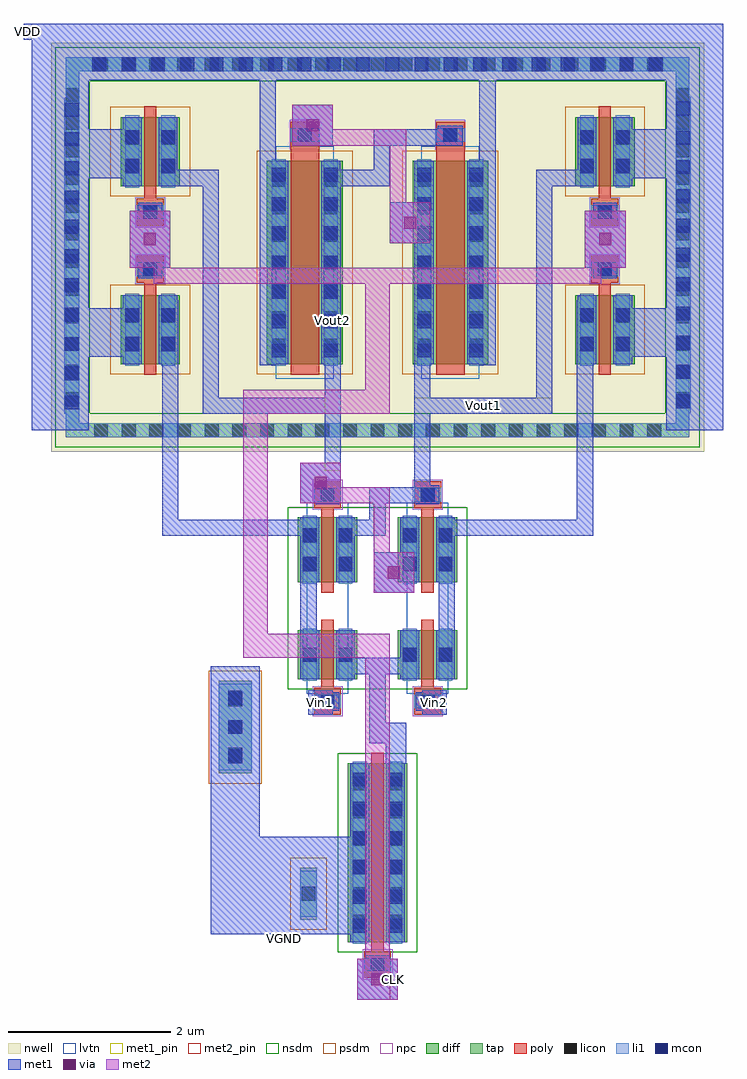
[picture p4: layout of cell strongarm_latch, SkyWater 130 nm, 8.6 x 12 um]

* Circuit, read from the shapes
.subckt strongarm_latch CLK VDD VGND Vin1 Vin2 Vout1 Vout2
XM1 n1 Vin1 n2 VGND sky130_fd_pr__nfet_01v8_lvt w=0.6 l=0.15
XM2 Vout1 Vout2 n2 VGND sky130_fd_pr__nfet_01v8_lvt w=0.8 l=0.15
XM3 n1 CLK VGND VGND sky130_fd_pr__nfet_01v8 w=2.2 l=0.15
XM4 n3 Vin2 n1 VGND sky130_fd_pr__nfet_01v8_lvt w=0.6 l=0.15
XM5 n3 Vout1 Vout2 VGND sky130_fd_pr__nfet_01v8_lvt w=0.8 l=0.15
XM6 n2 CLK VDD VDD sky130_fd_pr__pfet_01v8 w=0.85 l=0.15
XM7 Vout2 CLK VDD VDD sky130_fd_pr__pfet_01v8 w=0.85 l=0.15
XM8 Vout2 Vout1 VDD VDD sky130_fd_pr__pfet_01v8_lvt w=2.5 l=0.35
XM9 VDD Vout2 Vout1 VDD sky130_fd_pr__pfet_01v8_lvt w=2.5 l=0.35
XM10 VDD CLK n3 VDD sky130_fd_pr__pfet_01v8 w=0.85 l=0.15
XM11 VDD CLK Vout1 VDD sky130_fd_pr__pfet_01v8 w=0.85 l=0.15
.ends

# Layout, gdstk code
from math import pi, radians
import gdstk
lib = gdstk.Library(unit=1e-6, precision=1e-09)
def R(c, l, rs):  # rectangles x0, y0, x1, y1
    for r in rs: c.add(gdstk.rectangle(r[:2], r[2:], *l))
def A(c, l, x, y, w, h, nx, ny, dx, dy):  # array of equal rectangles
    R(c, l, [(x+i*dx, y+j*dy, x+i*dx+w, y+j*dy+h) for i in range(nx) for j in range(ny)])
nwell = (64, 20)
diff = (65, 20)
tap = (65, 44)
poly = (66, 20)
licon = (66, 44)
li1 = (67, 20)
mcon = (67, 44)
met1_pin = (68, 16)
met1 = (68, 20)
via = (68, 44)
met2_pin = (69, 16)
met2 = (69, 20)
nsdm = (93, 44)
psdm = (94, 20)
npc = (95, 20)
lvtn = (125, 44)

sky130_fd_pr__nfet_01v8_ = lib.new_cell('sky130_fd_pr__nfet_01v8_lvt_TKNPCU')
R(sky130_fd_pr__nfet_01v8_, diff, [(-0.365,-0.145,0.365,0.455)])
R(sky130_fd_pr__nfet_01v8_, poly, [(-0.165,-0.585,0.165,-0.255), (-0.075,-0.255,0.075,0.585)])
R(sky130_fd_pr__nfet_01v8_, licon, [(-0.085,-0.505,0.085,-0.335), (-0.305,0.07,-0.135,0.24), (0.135,0.07,0.305,0.24)])
R(sky130_fd_pr__nfet_01v8_, li1, [(-0.165,-0.505,0.165,-0.335), (-0.305,-0.165,-0.135,0.475), (0.135,-0.165,0.305,0.475)])
R(sky130_fd_pr__nfet_01v8_, mcon, [(-0.085,-0.505,0.085,-0.335), (-0.305,0.07,-0.135,0.24), (0.135,0.07,0.305,0.24)])
R(sky130_fd_pr__nfet_01v8_, met1, [(-0.145,-0.535,0.145,-0.305), (-0.335,-0.145,-0.105,0.455), (0.105,-0.145,0.335,0.455)])
R(sky130_fd_pr__nfet_01v8_, nsdm, [(-0.49,-0.27,0.49,0.58)])
R(sky130_fd_pr__nfet_01v8_, npc, [(-0.185,-0.605,0.185,-0.235)])
R(sky130_fd_pr__nfet_01v8_, lvtn, [(-0.255,-0.325,0.255,0.635)])

c_sky130_fd_pr__nfet_01v8_ = lib.new_cell('sky130_fd_pr__nfet_01v8_J3FHM4')
R(c_sky130_fd_pr__nfet_01v8_, diff, [(-0.365,-0.945,0.365,1.255)])
R(c_sky130_fd_pr__nfet_01v8_, poly, [(-0.165,-1.385,0.165,-1.055), (-0.075,-1.055,0.075,1.385)])
A(c_sky130_fd_pr__nfet_01v8_, licon, -0.305, -0.78, 0.17, 0.17, 1, 6, 0, 0.34)
A(c_sky130_fd_pr__nfet_01v8_, licon, 0.135, -0.78, 0.17, 0.17, 1, 6, 0, 0.34)
R(c_sky130_fd_pr__nfet_01v8_, licon, [(-0.085,-1.305,0.085,-1.135)])
R(c_sky130_fd_pr__nfet_01v8_, li1, [(-0.165,-1.305,0.165,-1.135), (-0.305,-0.965,-0.135,1.275), (0.135,-0.965,0.305,1.275)])
A(c_sky130_fd_pr__nfet_01v8_, mcon, -0.305, -0.83, 0.17, 0.17, 1, 6, 0, 0.36)
A(c_sky130_fd_pr__nfet_01v8_, mcon, 0.135, -0.83, 0.17, 0.17, 1, 6, 0, 0.36)
R(c_sky130_fd_pr__nfet_01v8_, mcon, [(-0.085,-1.305,0.085,-1.135)])
R(c_sky130_fd_pr__nfet_01v8_, met1, [(-0.145,-1.335,0.145,-1.105), (-0.335,-0.945,-0.105,1.255), (0.105,-0.945,0.335,1.255)])
R(c_sky130_fd_pr__nfet_01v8_, nsdm, [(-0.49,-1.07,0.49,1.38)])
R(c_sky130_fd_pr__nfet_01v8_, npc, [(-0.185,-1.405,0.185,-1.035)])

c_sky130_fd_pr__nfet_01v8__ = lib.new_cell('sky130_fd_pr__nfet_01v8_lvt_QB5NRZ')
R(c_sky130_fd_pr__nfet_01v8__, diff, [(-0.365,-0.555,0.365,0.245)])
R(c_sky130_fd_pr__nfet_01v8__, poly, [(-0.075,-0.685,0.075,0.355), (-0.165,0.355,0.165,0.685)])
R(c_sky130_fd_pr__nfet_01v8__, licon, [(-0.305,-0.41,-0.135,-0.24), (0.135,-0.41,0.305,-0.24), (-0.305,-0.07,-0.135,0.1), (0.135,-0.07,0.305,0.1), (-0.085,0.435,0.085,0.605)])
R(c_sky130_fd_pr__nfet_01v8__, li1, [(-0.305,-0.575,-0.135,0.265), (0.135,-0.575,0.305,0.265), (-0.165,0.435,0.165,0.605)])
R(c_sky130_fd_pr__nfet_01v8__, mcon, [(-0.305,-0.42,-0.135,-0.25), (0.135,-0.42,0.305,-0.25), (-0.305,-0.06,-0.135,0.11), (0.135,-0.06,0.305,0.11), (-0.085,0.435,0.085,0.605)])
R(c_sky130_fd_pr__nfet_01v8__, met1, [(-0.335,-0.555,-0.105,0.245), (0.105,-0.555,0.335,0.245), (-0.145,0.405,0.145,0.635)])
R(c_sky130_fd_pr__nfet_01v8__, nsdm, [(-0.49,-0.68,0.49,0.37)])
R(c_sky130_fd_pr__nfet_01v8__, npc, [(-0.185,0.335,0.185,0.705)])
R(c_sky130_fd_pr__nfet_01v8__, lvtn, [(-0.255,-0.735,0.255,0.425)])

sky130_fd_pr__pfet_01v8_ = lib.new_cell('sky130_fd_pr__pfet_01v8_G6GMRB')
R(sky130_fd_pr__pfet_01v8_, nwell, [(-0.545,-0.745,0.545,0.915)])
R(sky130_fd_pr__pfet_01v8_, diff, [(-0.365,-0.245,0.365,0.605)])
R(sky130_fd_pr__pfet_01v8_, poly, [(-0.165,-0.73,0.165,-0.4), (-0.075,-0.4,0.075,0.735)])
R(sky130_fd_pr__pfet_01v8_, licon, [(-0.085,-0.65,0.085,-0.48), (-0.305,-0.075,-0.135,0.095), (0.135,-0.075,0.305,0.095), (-0.305,0.265,-0.135,0.435), (0.135,0.265,0.305,0.435)])
R(sky130_fd_pr__pfet_01v8_, li1, [(-0.165,-0.65,0.165,-0.48), (-0.305,-0.265,-0.135,0.625), (0.135,-0.265,0.305,0.625)])
R(sky130_fd_pr__pfet_01v8_, mcon, [(-0.085,-0.65,0.085,-0.48), (-0.305,-0.085,-0.135,0.085), (0.135,-0.085,0.305,0.085), (-0.305,0.275,-0.135,0.445), (0.135,0.275,0.305,0.445)])
R(sky130_fd_pr__pfet_01v8_, met1, [(-0.145,-0.68,0.145,-0.45), (-0.335,-0.245,-0.105,0.605), (0.105,-0.245,0.335,0.605)])
R(sky130_fd_pr__pfet_01v8_, psdm, [(-0.49,-0.37,0.49,0.73)])
R(sky130_fd_pr__pfet_01v8_, npc, [(-0.185,-0.75,0.185,-0.38)])

c_sky130_fd_pr__pfet_01v8_ = lib.new_cell('sky130_fd_pr__pfet_01v8_lvt_ZG7PXW')
R(c_sky130_fd_pr__pfet_01v8_, nwell, [(-0.645,-1.74,0.645,1.57)])
R(c_sky130_fd_pr__pfet_01v8_, diff, [(-0.465,-1.43,0.465,1.07)])
R(c_sky130_fd_pr__pfet_01v8_, poly, [(-0.175,-1.56,0.175,1.555)])
A(c_sky130_fd_pr__pfet_01v8_, licon, -0.405, -1.285, 0.17, 0.17, 1, 7, 0, 0.34)
A(c_sky130_fd_pr__pfet_01v8_, licon, 0.235, -1.285, 0.17, 0.17, 1, 7, 0, 0.34)
R(c_sky130_fd_pr__pfet_01v8_, licon, [(-0.085,1.305,0.085,1.475)])
R(c_sky130_fd_pr__pfet_01v8_, li1, [(-0.405,-1.45,-0.235,1.09), (0.235,-1.45,0.405,1.09), (-0.175,1.305,0.175,1.475)])
A(c_sky130_fd_pr__pfet_01v8_, mcon, -0.405, -1.345, 0.17, 0.17, 1, 7, 0, 0.36)
A(c_sky130_fd_pr__pfet_01v8_, mcon, 0.235, -1.345, 0.17, 0.17, 1, 7, 0, 0.36)
R(c_sky130_fd_pr__pfet_01v8_, mcon, [(-0.085,1.305,0.085,1.475)])
R(c_sky130_fd_pr__pfet_01v8_, met1, [(-0.435,-1.43,-0.205,1.07), (0.205,-1.43,0.435,1.07), (-0.155,1.275,0.155,1.505)])
R(c_sky130_fd_pr__pfet_01v8_, psdm, [(-0.59,-1.555,0.59,1.195)])
R(c_sky130_fd_pr__pfet_01v8_, npc, [(-0.185,1.205,0.185,1.575)])
R(c_sky130_fd_pr__pfet_01v8_, lvtn, [(-0.355,-1.61,0.355,1.25)])

c_sky130_fd_pr__pfet_01v8__ = lib.new_cell('sky130_fd_pr__pfet_01v8_TCZQYD')
R(c_sky130_fd_pr__pfet_01v8__, nwell, [(-0.545,-0.915,0.545,0.745)])
R(c_sky130_fd_pr__pfet_01v8__, diff, [(-0.365,-0.605,0.365,0.245)])
R(c_sky130_fd_pr__pfet_01v8__, poly, [(-0.075,-0.735,0.075,0.4), (-0.165,0.4,0.165,0.73)])
R(c_sky130_fd_pr__pfet_01v8__, licon, [(-0.305,-0.435,-0.135,-0.265), (0.135,-0.435,0.305,-0.265), (-0.305,-0.095,-0.135,0.075), (0.135,-0.095,0.305,0.075), (-0.085,0.48,0.085,0.65)])
R(c_sky130_fd_pr__pfet_01v8__, li1, [(-0.305,-0.625,-0.135,0.265), (0.135,-0.625,0.305,0.265), (-0.165,0.48,0.165,0.65)])
R(c_sky130_fd_pr__pfet_01v8__, mcon, [(-0.305,-0.445,-0.135,-0.275), (0.135,-0.445,0.305,-0.275), (-0.305,-0.085,-0.135,0.085), (0.135,-0.085,0.305,0.085), (-0.085,0.48,0.085,0.65)])
R(c_sky130_fd_pr__pfet_01v8__, met1, [(-0.335,-0.605,-0.105,0.245), (0.105,-0.605,0.335,0.245), (-0.145,0.45,0.145,0.68)])
R(c_sky130_fd_pr__pfet_01v8__, psdm, [(-0.49,-0.73,0.49,0.37)])
R(c_sky130_fd_pr__pfet_01v8__, npc, [(-0.185,0.38,0.185,0.75)])

strongarm_latch = lib.new_cell('strongarm_latch')
R(strongarm_latch, nwell, [(0.735,-16.765,8.765,-11.735)])
R(strongarm_latch, tap, [(3.8,-22.52,4,-21.88), (2.8,-20.72,3.2,-19.58), (0.915,-16.585,8.585,-16.415), (0.915,-16.415,1.085,-12.085), (8.415,-16.415,8.585,-12.085), (0.915,-12.085,8.585,-11.915)])
A(strongarm_latch, licon, 2.915, -20.575, 0.17, 0.17, 1, 3, 0, 0.34)
A(strongarm_latch, licon, 1.265, -16.585, 0.17, 0.17, 21, 2, 0.34, 4.5)
A(strongarm_latch, licon, 0.915, -16.205, 0.17, 0.17, 1, 12, 0, 0.34)
A(strongarm_latch, licon, 8.415, -16.205, 0.17, 0.17, 1, 12, 0, 0.34)
R(strongarm_latch, licon, [(3.815,-22.285,3.985,-22.115)])
R(strongarm_latch, li1, [(3.8,-22.48,4,-21.92), (2.8,-20.68,3.2,-19.62), (0.915,-16.585,8.585,-16.415), (0.915,-16.415,1.085,-16.3), (8.415,-16.415,8.585,-16.285), (0.9,-16.3,1.085,-12.415), (8.415,-16.285,8.6,-12.4), (0.915,-12.415,1.085,-12.085), (8.415,-12.4,8.585,-12.085), (0.915,-12.085,8.585,-11.915)])
A(strongarm_latch, mcon, 2.915, -20.595, 0.17, 0.17, 1, 3, 0, 0.36)
A(strongarm_latch, mcon, 0.905, -16.245, 0.17, 0.17, 1, 11, 0, 0.36)
A(strongarm_latch, mcon, 8.42, -16.23, 0.17, 0.17, 1, 11, 0, 0.36)
A(strongarm_latch, mcon, 1.245, -12.085, 0.17, 0.17, 20, 1, 0.36, 0)
R(strongarm_latch, met1_pin, [(3.5,-22.8,3.7,-22.7), (3.9,-20,4.2,-19.7), (5.3,-20,5.6,-19.7), (4.1,-17,4.3,-13.3), (5.2,-16.3,6.9,-16.1), (0.4,-11.7,0.5,-11.5)])
R(strongarm_latch, met1, [(4.5,-23.5,5,-23), (3.5,-22.8,3.7,-22.7), (2.7,-22.7,4.6,-21.5), (2.7,-21.5,3.3,-19.4), (4.85,-20.6,5.1,-20.35), (4.65,-20.35,5.1,-20.1), (4.65,-20.1,4.85,-19.5), (3.9,-20,4.2,-19.7), (5.3,-20,5.6,-19.7), (3.8,-19.5,4,-17.8), (4.3,-19.5,5.2,-19.3), (5.5,-19.2,5.7,-17.8), (4.7,-18.5,5.2,-18), (2.1,-17.8,4,-17.6), (4.3,-17.8,4.85,-17.6), (5.5,-17.8,7.4,-17.6), (2.1,-17.6,2.3,-14.9), (4.65,-17.6,4.85,-17.4), (7.2,-17.6,7.4,-14.9), (3.8,-17.4,4.3,-16.9), (4.65,-17.4,5.3,-17.2), (5.2,-17.2,5.4,-16.3), (4.1,-16.9,4.3,-16.3), (0.5,-16.5,1.2,-15.6), (8.3,-16.5,9,-15.6), (2.6,-16.3,4.3,-16.1), (5.2,-16.3,6.9,-16.1), (2.6,-16.1,2.8,-13.5), (4.1,-16.1,4.3,-13.5), (5.2,-16.1,5.4,-14.2), (6.7,-16.1,6.9,-13.5), (3.3,-15.7,3.5,-12.2), (6,-15.7,6.2,-12.2), (0.5,-15.6,1.7,-15), (7.8,-15.6,9,-15), (0.5,-15,1.2,-13.4), (8.3,-15,9,-13.4), (1.7,-14.5,2.2,-13.8), (7.3,-14.5,7.8,-13.8), (4.9,-14.2,5.4,-13.7), (5.2,-13.7,5.4,-13.2), (2.1,-13.5,2.8,-13.3), (4.1,-13.5,4.9,-13.3), (6.7,-13.5,7.4,-13.3), (0.5,-13.4,1.7,-12.8), (7.8,-13.4,9,-12.8), (4.7,-13.3,4.9,-13), (3.7,-13,4.2,-12.5), (4.7,-13,5.8,-12.8), (0.5,-12.8,1.2,-12.2), (8.3,-12.8,9,-12.2), (0.5,-12.2,9,-11.7), (0.4,-11.7,9,-11.5)])
R(strongarm_latch, via, [(4.675,-23.325,4.825,-23.175), (4.875,-18.325,5.025,-18.175), (3.975,-17.225,4.125,-17.075), (1.875,-14.225,2.025,-14.075), (7.475,-14.225,7.625,-14.075), (5.075,-14.025,5.225,-13.875), (3.875,-12.825,4.025,-12.675)])
R(strongarm_latch, met2_pin, [(4.9,-23.5,5,-23)])
R(strongarm_latch, met2, [(4.5,-23.5,5,-23), (4.6,-23,4.9,-19.3), (3.1,-19.3,4.9,-19), (3.1,-19,3.4,-16.3), (4.7,-18.5,5.2,-18), (4.7,-18,4.9,-17.4), (3.8,-17.4,4.9,-17.2), (3.8,-17.2,4.3,-16.9), (3.1,-16.3,4.9,-16), (4.6,-16,4.9,-14.7), (2,-14.7,7.5,-14.5), (1.7,-14.5,2.2,-13.8), (7.3,-14.5,7.8,-13.8), (4.9,-14.2,5.4,-13.7), (4.9,-13.7,5.1,-13), (3.7,-13,5.1,-12.8), (3.7,-12.8,4.2,-12.5)])
R(strongarm_latch, nsdm, [(4.625,-19.685,4.875,-18.835), (3.645,-18.835,5.855,-18.495), (4.625,-18.495,4.875,-17.445), (0.79,-16.71,8.71,-16.29), (0.79,-16.29,1.21,-12.21), (8.29,-16.29,8.71,-12.21), (0.79,-12.21,8.71,-11.79)])
R(strongarm_latch, psdm, [(3.675,-22.645,4.125,-21.755), (2.675,-20.845,3.325,-19.455)])
R(strongarm_latch, lvtn, [(3.88,-18.78,4.39,-18.55), (5.11,-18.78,5.62,-18.55)])
strongarm_latch.add(gdstk.Reference(sky130_fd_pr__nfet_01v8_, (4.135,-19.415), rotation=pi, x_reflection=True))
strongarm_latch.add(gdstk.Reference(c_sky130_fd_pr__nfet_01v8_, (4.75,-21.85)))
strongarm_latch.add(gdstk.Reference(sky130_fd_pr__nfet_01v8_, (5.365,-19.415)))
strongarm_latch.add(gdstk.Reference(c_sky130_fd_pr__nfet_01v8__, (4.135,-17.815), rotation=pi, x_reflection=True))
strongarm_latch.add(gdstk.Reference(c_sky130_fd_pr__nfet_01v8__, (5.365,-17.815)))
strongarm_latch.add(gdstk.Reference(sky130_fd_pr__pfet_01v8_, (1.955,-13.255), rotation=pi, x_reflection=True))
strongarm_latch.add(gdstk.Reference(c_sky130_fd_pr__pfet_01v8_, (3.855,-14.26), rotation=pi, x_reflection=True))
strongarm_latch.add(gdstk.Reference(c_sky130_fd_pr__pfet_01v8__, (1.955,-15.085), rotation=pi, x_reflection=True))
strongarm_latch.add(gdstk.Reference(c_sky130_fd_pr__pfet_01v8__, (7.545,-15.085)))
strongarm_latch.add(gdstk.Reference(c_sky130_fd_pr__pfet_01v8_, (5.645,-14.26)))
strongarm_latch.add(gdstk.Reference(sky130_fd_pr__pfet_01v8_, (7.545,-13.255)))
strongarm_latch.add(gdstk.Label('Vin1', (4.05,-19.85), layer=68, texttype=5))
strongarm_latch.add(gdstk.Label('Vin2', (5.45,-19.85), layer=68, texttype=5))
strongarm_latch.add(gdstk.Label('VDD', (0.45,-11.6), layer=68, texttype=5))
strongarm_latch.add(gdstk.Label('VGND', (3.6,-22.75), layer=68, texttype=5))
strongarm_latch.add(gdstk.Label('Vout2', (4.2,-15.15), layer=68, texttype=5))
strongarm_latch.add(gdstk.Label('Vout1', (6.05,-16.2), layer=68, texttype=5))
strongarm_latch.add(gdstk.Label('CLK', (4.95,-23.25), layer=69, texttype=5))

lib.write_gds('strongarm_latch.gds')
